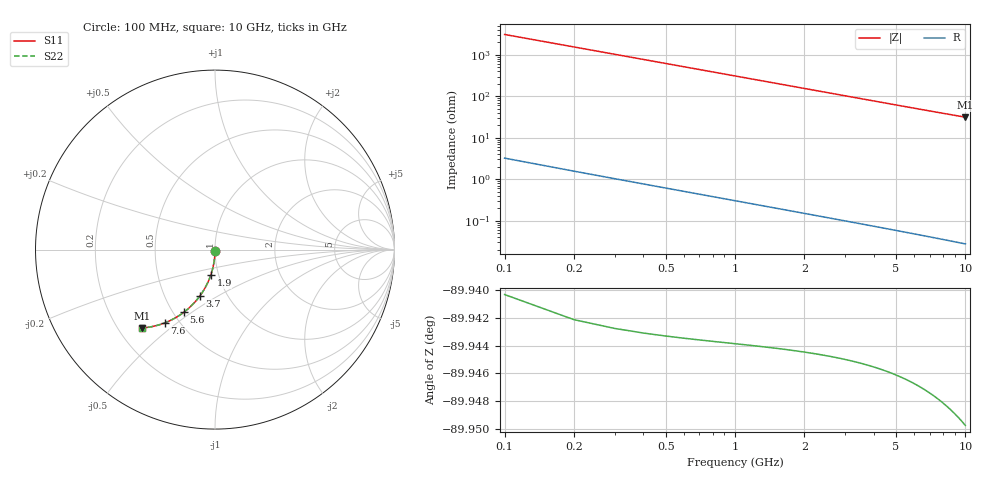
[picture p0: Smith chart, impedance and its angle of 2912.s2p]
# Hz S RI R 50.00
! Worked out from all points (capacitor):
!   100 points, 100 MHz to 10 GHz, reference 50 ohm
!   read as one part in shunt: C = 514 fF near 100 MHz
!   lowest |Z| = 31.4 ohm at 10 GHz (marker M1)
!   S11 on the Smith chart (normalised r, x): 100 MHz: 1.00, -0.02; 1.9 GHz: 0.92, -0.26; 3.7 GHz: 0.75, -0.41; 5.6 GHz: 0.57, -0.47; 7.6 GHz: 0.42, -0.45; 10 GHz: 0.30, -0.40
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1e8  4.65e-05 -0.00754  0.9998 -0.0086  0.9998 -0.0086  4.65e-05 -0.00754
2e8  -0.000155 -0.0151  0.9996 -0.0172  0.9996 -0.0172  -0.000155 -0.0151
3e8  -0.000486 -0.0226  0.9993 -0.0258  0.9993 -0.0258  -0.000486 -0.0226
4e8  -0.000947 -0.0301  0.9988 -0.0344  0.9988 -0.0344  -0.000947 -0.0301
5e8  -0.00154 -0.0376  0.9982 -0.0429  0.9982 -0.0429  -0.00154 -0.0376
6e8  -0.00226 -0.0452  0.9975 -0.0515  0.9975 -0.0515  -0.00226 -0.0452
8e8  -0.00408 -0.0601  0.9956 -0.0686  0.9956 -0.0686  -0.00408 -0.0601
1.1e9  -0.00776 -0.0823  0.9919 -0.094  0.9919 -0.094  -0.00776 -0.0823
1.4e9  -0.0126 -0.1043  0.9871 -0.1191  0.9871 -0.1191  -0.0126 -0.1043
1.8e9  -0.0207 -0.133  0.9789 -0.1521  0.9789 -0.1521  -0.0207 -0.133
1.9e9  -0.023 -0.1401  0.9765 -0.1602  0.9765 -0.1602  -0.023 -0.1401
2.2e9  -0.0307 -0.161  0.9688 -0.1843  0.9688 -0.1843  -0.0307 -0.161
2.6e9  -0.0424 -0.188  0.957 -0.2155  0.957 -0.2155  -0.0424 -0.188
3.4e9  -0.0707 -0.2385  0.9284 -0.2747  0.9284 -0.2747  -0.0707 -0.2385
3.7e9  -0.0828 -0.2561  0.9162 -0.2955  0.9162 -0.2955  -0.0828 -0.2561
4.4e9  -0.1136 -0.2942  0.885 -0.3411  0.885 -0.3411  -0.1136 -0.2942
5.1e9  -0.1474 -0.3276  0.8508 -0.3822  0.8508 -0.3822  -0.1474 -0.3276
5.6e9  -0.173 -0.3486  0.825 -0.4086  0.825 -0.4086  -0.173 -0.3486
6.7e9  -0.2316 -0.3862  0.7655 -0.4584  0.7655 -0.4584  -0.2316 -0.3862
7.6e9  -0.2807 -0.4086  0.7156 -0.4908  0.7156 -0.4908  -0.2807 -0.4086
8.4e9  -0.324 -0.4227  0.6716 -0.5139  0.6716 -0.5139  -0.324 -0.4227
1e10  -0.407 -0.4365  0.5867 -0.5462  0.5867 -0.5462  -0.407 -0.4365
